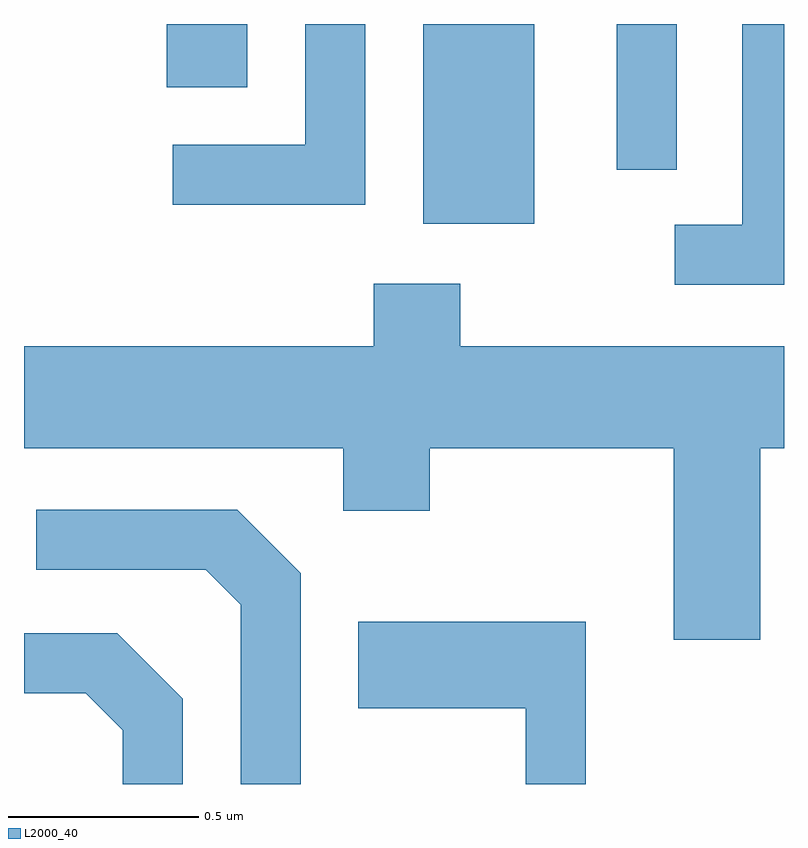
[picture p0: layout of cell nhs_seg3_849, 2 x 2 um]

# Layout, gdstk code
import gdstk
lib = gdstk.Library(unit=1e-6, precision=1e-09)
def R(c, l, rs):  # rectangles x0, y0, x1, y1
    for r in rs: c.add(gdstk.rectangle(r[:2], r[2:], *l))
def P(c, l, *ps):  # polygons
    for p in ps: c.add(gdstk.Polygon(p, *l))
L2000_40 = (2000, 40)

nhs_seg3_849 = lib.new_cell('nhs_seg3_849')
R(nhs_seg3_849, L2000_40, [(192.661,1144.366,192.954,1144.892), (193.171,1144.508,193.329,1144.892)])
P(nhs_seg3_849, L2000_40, [(192.509,1144.892),(192.351,1144.892),(192.351,1144.574),(192.003,1144.574),(192.003,1144.416),(192.509,1144.416)],
  [(193.611,1144.892),(193.501,1144.892),(193.501,1144.364),(193.323,1144.364),(193.323,1144.206),(193.611,1144.206)],
  [(192.199,1144.892),(191.616,1144.892),(191.616,1144.891),(191.986,1144.891),(191.986,1144.726),(192.199,1144.726)],
  [(193.549,1143.776),(193.611,1143.776),(193.611,1144.044),(192.759,1144.044),(192.759,1144.209),(192.531,1144.209),(192.531,1144.044),(191.611,1144.044),(191.611,1143.776),(192.451,1143.776),(192.451,1143.611),(192.679,1143.611),(192.679,1143.776),(193.321,1143.776),(193.321,1143.271),(193.549,1143.271)],
  [(192.339,1143.447),(192.172,1143.614),(191.643,1143.614),(191.643,1143.456),(192.089,1143.456),(192.181,1143.364),(192.181,1142.892),(192.339,1142.892)],
  [(193.089,1143.319),(192.491,1143.319),(192.491,1143.091),(192.931,1143.091),(192.931,1142.892),(193.089,1142.892)],
  [(192.029,1143.117),(191.857,1143.289),(191.611,1143.289),(191.611,1143.131),(191.774,1143.131),(191.871,1143.034),(191.871,1142.892),(192.029,1142.892)])

lib.write_gds('nhs_seg3_849.gds')
